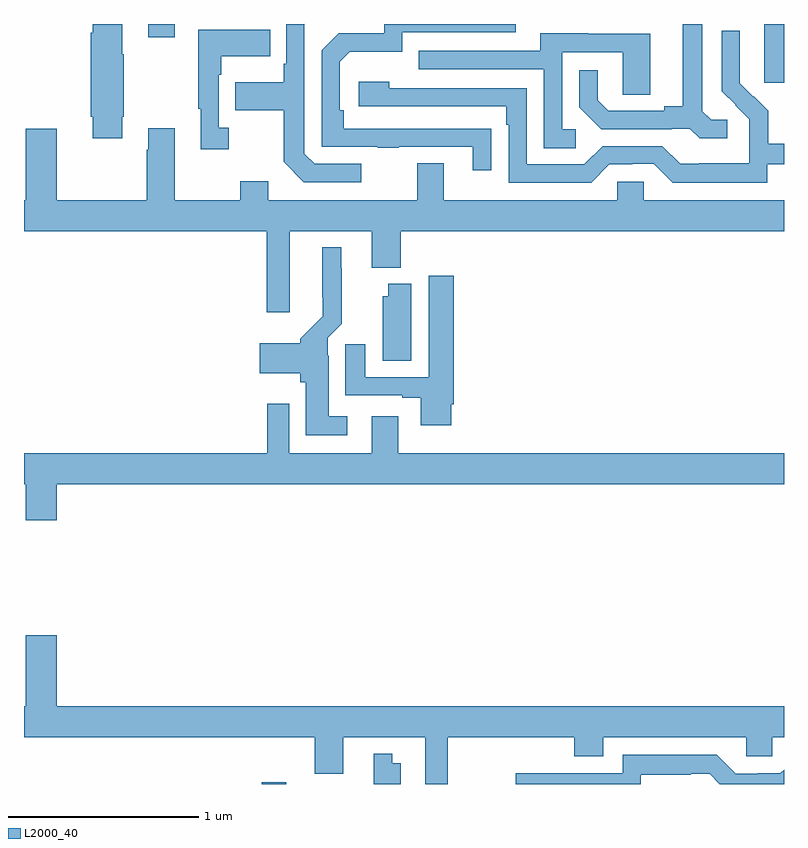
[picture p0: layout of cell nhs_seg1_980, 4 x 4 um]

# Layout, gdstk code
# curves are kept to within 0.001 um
import gdstk
lib = gdstk.Library(unit=1e-6, precision=1e-09)
def R(c, l, rs):  # rectangles x0, y0, x1, y1
    for r in rs: c.add(gdstk.rectangle(r[:2], r[2:], *l))
def P(c, l, *ps):  # polygons
    for p in ps: c.add(gdstk.Polygon(p, *l))
L2000_40 = (2000, 40)

nhs_seg1_980 = lib.new_cell('nhs_seg1_980')
R(nhs_seg1_980, L2000_40, [(166.25,506.199,166.381,506.209), (168.896,509.889,169,510.199), (165.653,510.129,165.793,510.199)])
P(nhs_seg1_980, L2000_40, [(167.459,509.648),(166.682,509.649),(166.682,509.746),(166.662,509.746),(166.662,510),(166.715,510.053),(166.992,510.053),(166.992,510.156),(167.587,510.156),(167.587,510.199),(166.896,510.199),(166.896,510.15),(166.656,510.15),(166.566,510.06),(166.566,509.553),(166.861,509.553),(166.861,509.548),(166.973,509.548),(166.973,509.553),(167.363,509.553),(167.363,509.43),(167.459,509.43)],
  [(168.7,509.694),(168.618,509.694),(168.571,509.741),(168.571,510.199),(168.467,510.199),(168.467,509.765),(168.371,509.765),(168.371,509.742),(168.076,509.742),(168.019,509.799),(168.019,509.956),(167.922,509.956),(167.922,509.762),(168.038,509.646),(168.41,509.646),(168.41,509.649),(168.504,509.649),(168.556,509.597),(168.7,509.597)],
  [(166.774,509.463),(166.53,509.463),(166.476,509.517),(166.477,510.199),(166.38,510.199),(166.38,509.989),(166.368,509.989),(166.368,509.893),(166.111,509.893),(166.111,509.746),(166.368,509.746),(166.368,509.473),(166.473,509.367),(166.774,509.367)],
  [(165.517,509.71),(165.525,509.71),(165.525,510.041),(165.517,510.041),(165.517,510.199),(165.362,510.199),(165.362,510.152),(165.35,510.152),(165.35,509.71),(165.362,509.71),(165.362,509.598),(165.517,509.598)],
  [(166.078,509.654),(166.026,509.654),(166.026,509.933),(166.039,509.933),(166.039,510.029),(166.295,510.029),(166.295,510.169),(165.918,510.169),(165.918,509.753),(165.929,509.753),(165.929,509.541),(166.078,509.541)],
  [(168.912,509.46),(169,509.46),(169,509.569),(168.917,509.569),(168.917,509.743),(168.84,509.82),(168.837,509.817),(168.767,509.888),(168.768,510.164),(168.672,510.164),(168.672,509.846),(168.818,509.698),(168.818,509.601),(168.816,509.601),(168.816,509.467),(168.553,509.467),(168.553,509.463),(168.453,509.463),(168.36,509.556),(168.045,509.556),(167.949,509.46),(167.646,509.46),(167.646,509.862),(166.922,509.862),(166.922,509.896),(166.761,509.896),(166.761,509.766),(167.537,509.766),(167.537,509.669),(167.55,509.669),(167.55,509.364),(167.985,509.364),(168.081,509.46),(168.2,509.46),(168.2,509.463),(168.315,509.463),(168.415,509.363),(168.912,509.363)],
  [(167.905,509.646),(167.832,509.646),(167.832,510.051),(168.15,510.051),(168.15,509.827),(168.295,509.827),(168.295,510.147),(167.971,510.147),(167.971,510.151),(167.717,510.151),(167.717,510.057),(167.077,510.057),(167.077,509.961),(167.736,509.961),(167.736,509.545),(167.905,509.545)],
  [(166.399,509.108),(166.829,509.108),(166.829,508.916),(166.982,508.916),(166.982,509.108),(169,509.108),(169,509.272),(168.261,509.272),(168.261,509.37),(168.123,509.37),(168.123,509.272),(167.209,509.272),(167.209,509.467),(167.069,509.467),(167.069,509.272),(166.285,509.272),(166.285,509.371),(166.138,509.371),(166.138,509.272),(165.793,509.272),(165.793,509.65),(165.653,509.65),(165.653,509.537),(165.646,509.537),(165.646,509.272),(165.172,509.272),(165.172,509.647),(165.008,509.647),(165.008,509.272),(165,509.272),(165,509.108),(166.277,509.108),(166.277,508.683),(166.399,508.683)],
  [(166.702,508.135),(166.603,508.135),(166.603,508.454),(166.599,508.454),(166.599,508.548),(166.673,508.622),(166.673,508.913),(166.669,508.913),(166.669,509.023),(166.571,509.023),(166.572,508.66),(166.454,508.542),(166.454,508.519),(166.242,508.519),(166.242,508.361),(166.454,508.361),(166.454,508.314),(166.484,508.314),(166.484,508.034),(166.702,508.034)],
  [(167.248,508.198),(167.261,508.198),(167.261,508.873),(167.129,508.873),(167.129,508.341),(166.795,508.341),(166.795,508.513),(166.691,508.513),(166.691,508.245),(166.991,508.245),(166.991,508.233),(167.087,508.233),(167.087,508.086),(167.248,508.086)],
  [(167.038,508.831),(166.916,508.831),(166.916,508.767),(166.889,508.767),(166.889,508.426),(167.038,508.426)],
  [(165.172,507.776),(169,507.776),(169,507.94),(166.969,507.94),(166.969,508.135),(166.829,508.135),(166.829,507.94),(166.395,507.94),(166.395,508.201),(166.279,508.201),(166.279,507.94),(165,507.94),(165,507.776),(165.008,507.776),(165.008,507.588),(165.172,507.588)],
  [(166.529,506.252),(166.681,506.252),(166.681,506.444),(167.111,506.444),(167.111,506.199),(167.229,506.199),(167.229,506.444),(167.897,506.444),(167.897,506.345),(168.049,506.345),(168.049,506.444),(168.801,506.444),(168.801,506.346),(168.939,506.346),(168.939,506.444),(169,506.444),(169,506.608),(165.172,506.608),(165.172,506.983),(165.008,506.983),(165.008,506.608),(165,506.608),(165,506.444),(166.529,506.444)],
  [(166.984,506.308),(166.939,506.308),(166.939,506.359),(166.842,506.359),(166.842,506.199),(166.984,506.199)],
  [(168.246,506.249),(168.509,506.249),(168.509,506.253),(168.609,506.253),(168.663,506.199),(169,506.199),(169,506.275),(168.981,506.256),(168.863,506.256),(168.863,506.253),(168.747,506.253),(168.647,506.353),(168.15,506.353),(168.15,506.256),(167.589,506.256),(167.589,506.199),(168.246,506.199)])

lib.write_gds('nhs_seg1_980.gds')
